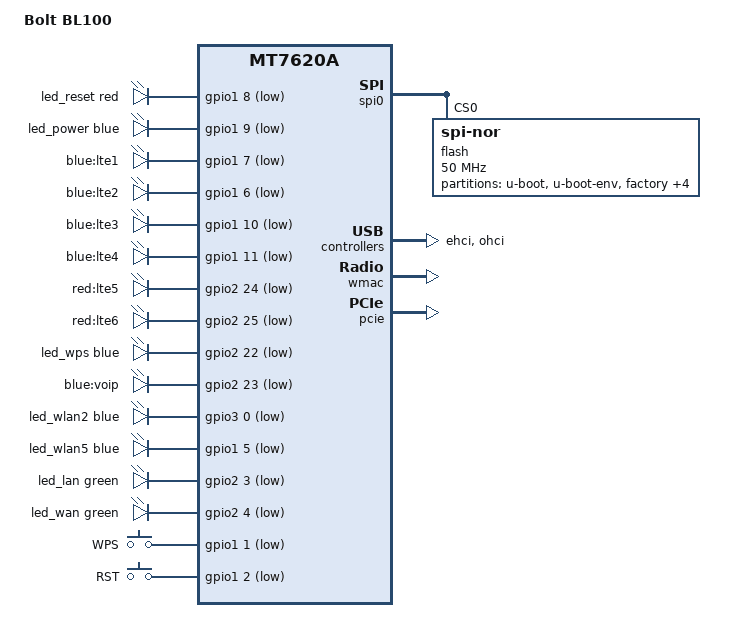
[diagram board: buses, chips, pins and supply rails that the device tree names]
// SPDX-License-Identifier: GPL-2.0-or-later OR MIT

#include "mt7620a.dtsi"

#include <dt-bindings/gpio/gpio.h>
#include <dt-bindings/input/input.h>
#include <dt-bindings/leds/common.h>
#include <dt-bindings/mtd/partitions/uimage.h>

/ {
	compatible = "bolt,bl100", "ralink,mt7620a-soc";
	model = "Bolt BL100";

	aliases {
		led-boot = &led_reset;
		led-failsafe = &led_reset;
		led-running = &led_power;
		led-upgrade = &led_reset;
		label-mac-device = &ethernet;
	};

	chosen {
		bootargs = "console=ttyS0,57600";
	};

	leds {
		compatible = "gpio-leds";

		led_reset: reset {
			function = LED_FUNCTION_BOOT;
			color = <LED_COLOR_ID_RED>;
			gpios = <&gpio1 8 GPIO_ACTIVE_LOW>;
		};

		led_power: power {
			function = LED_FUNCTION_POWER;
			color = <LED_COLOR_ID_BLUE>;
			gpios = <&gpio1 9 GPIO_ACTIVE_LOW>;
		};

		led_lte1 {
			label = "blue:lte1";
			gpios = <&gpio1 7 GPIO_ACTIVE_LOW>;
		};

		led_lte2 {
			label = "blue:lte2";
			gpios = <&gpio1 6 GPIO_ACTIVE_LOW>;
		};

		led_lte3 {
			label = "blue:lte3";
			gpios = <&gpio1 10 GPIO_ACTIVE_LOW>;
		};

		led_lte4 {
			label = "blue:lte4";
			gpios = <&gpio1 11 GPIO_ACTIVE_LOW>;
		};
		
		led_lte5 {
			label = "red:lte5";
			gpios = <&gpio2 24 GPIO_ACTIVE_LOW>;
		};

		led_lte6 {
			label = "red:lte6";
			gpios = <&gpio2 25 GPIO_ACTIVE_LOW>;
		};

		led_wps {
			function = LED_FUNCTION_WPS;
			color = <LED_COLOR_ID_BLUE>;
			gpios = <&gpio2 22 GPIO_ACTIVE_LOW>;
		};

		led_voip {
			label = "blue:voip";
			gpios = <&gpio2 23 GPIO_ACTIVE_LOW>;
		};

		led_wlan2 {
			function = LED_FUNCTION_WLAN_2GHZ;
			color = <LED_COLOR_ID_BLUE>;
			gpios = <&gpio3 0 GPIO_ACTIVE_LOW>;
			linux,default-trigger = "phy1tpt";
		};
		
		led_wlan5 {
			function = LED_FUNCTION_WLAN_5GHZ;
			color = <LED_COLOR_ID_BLUE>;
			gpios = <&gpio1 5 GPIO_ACTIVE_LOW>;
			linux,default-trigger = "phy0tpt";
		};
		
		led_lan {
			function = LED_FUNCTION_LAN;
			color = <LED_COLOR_ID_GREEN>;
			gpios = <&gpio2 3 GPIO_ACTIVE_LOW>;
		};
		
		led_wan {
			function = LED_FUNCTION_WAN;
			color = <LED_COLOR_ID_GREEN>;
			gpios = <&gpio2 4 GPIO_ACTIVE_LOW>;
		};
	};

	keys {
		compatible = "gpio-keys";

		wps {
			label = "WPS";
			linux,code = <KEY_WPS_BUTTON>;
			gpios = <&gpio1 1 GPIO_ACTIVE_LOW>;
		};

		reset {
			label = "RST";
			linux,code = <KEY_RESTART>;
			gpios = <&gpio1 2 GPIO_ACTIVE_LOW>;
		};
	};
};

&gpio0 {
	status = "okay";
};

&gpio1 {
	status = "okay";
};

&gpio2 {
	status = "okay";
};

&gpio3 {
	status = "okay";
};

&spi0 {
	status = "okay";

	flash@0 {
		compatible = "jedec,spi-nor";
		reg = <0>;
		spi-max-frequency = <50000000>;

		partitions {
			compatible = "fixed-partitions";
			#address-cells = <1>;
			#size-cells = <1>;

			partition@0 {
				label = "u-boot";
				reg = <0x0 0x30000>;
				read-only;
			};

			partition@30000 {
				label = "u-boot-env";
				reg = <0x30000 0x10000>;
			};

			partition@40000 {
				compatible = "nvmem-cells";
				label = "factory";
				reg = <0x40000 0x10000>;
				read-only;

				nvmem-layout {
					compatible = "fixed-layout";
					#address-cells = <1>;
					#size-cells = <1>;

					eeprom_factory_0: eeprom@0 {
						reg = <0x0 0x200>;
					};

					eeprom_factory_8000: eeprom@8000 {
						reg = <0x8000 0x200>;
					};

					macaddr_factory_28: macaddr@28 {
						reg = <0x28 0x6>;
					};
				};
			};

			partition@50000 {
				label = "firmware";
				reg = <0x50000 0xf80000>;
				compatible = "openwrt,uimage", "denx,uimage";
				openwrt,ih-magic = <0x26112015>;
			};

			partition@fd0000 {
				label = "crash";
				reg = <0xfd0000 0x10000>;
			};

			partition@fe0000 {
				label = "reserved";
				reg = <0xfe0000 0x10000>;
				read-only;
			};

			partition@ff0000 {
				label = "Bdata";
				reg = <0xff0000 0x10000>;
			};
		};
	};
};

&ehci {
	status = "okay";
};

&ohci {
	status = "okay";
};

&ethernet {
	nvmem-cells = <&macaddr_factory_28>;
	nvmem-cell-names = "mac-address";

	mediatek,portmap = "llllw";
};

&wmac {
	nvmem-cells = <&eeprom_factory_0>;
	nvmem-cell-names = "eeprom";
	
	pinctrl-names = "default", "pa_gpio";
	pinctrl-0 = <&pa_pins>;
	pinctrl-1 = <&pa_gpio_pins>;
};

&pcie {
	status = "okay";
};

&pcie0 {
	mt76@0,0 {
		reg = <0x0000 0 0 0 0>;
		nvmem-cells = <&eeprom_factory_8000>;
		nvmem-cell-names = "eeprom";
		ieee80211-freq-limit = <5000000 6000000>;
	};
};

&state_default {
	gpio {
		groups = "i2c", "uartf", "rgmii1", "rgmii2", "ephy", "wled", "nd_sd";
		function = "gpio";
	};
};

